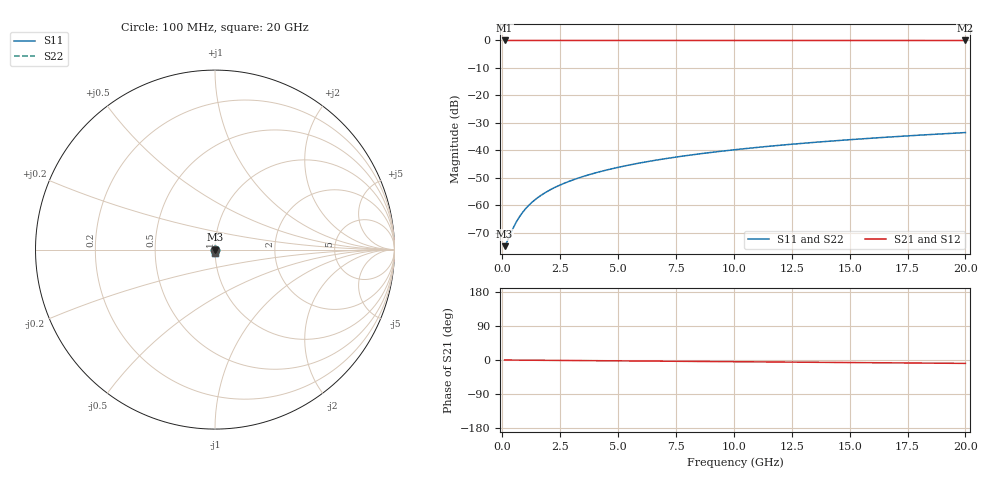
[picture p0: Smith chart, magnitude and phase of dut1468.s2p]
! Touchstone file exported from HFSS 2026.1.0
!  File:  C:/ffzhzh/LocalFiles/Ansys_Project_Files/temp_train_TSV_1468_1783198280_43440.aedt
!  Generated:  04:52:49 AM Jul  5, 2026
!  Design:  TSV
!  Project:  temp_train_TSV_1468_1783198280_43440
! Variables:
!  h_bsmrdl = 2um
!  h_ox = 20um
!  h_rdl = 5um
!  h_sub = 93.8um
!  h_tmrdl = 5um
!  h_tsv = 93.8um
!  h_via = 3um
!  l_bsmrdl = 300um
!  l_sub = 418.18um
!  l_tmrdl = 200um
!  m_sub = 200um
!  pitch = 32.33um
!  r_tsv = 9.09um
!  s_tmrdl = 10um
!  w_bsmrdl = 18um
!  w_sub = 500um
!  w_tmrdl = 12um
!  x_tsv_center1 = 206um
!  x_tsv_center2 = 524um
!  x_tsv_center3 = 736um
!  x_tsv_center4 = 1054um
!  x_tsv_center5 = 1266um
!  x_tsv_center6 = 1584um
# GHz S MA R 50.000000
! Terminal data exported
! Port[1] = TSV1_1_T1
! Port[2] = TSV1_1_T2
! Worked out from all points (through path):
!   200 points, 100 MHz to 20 GHz, reference 50 ohm
!   highest |S21| = 0.00 dB at 100 MHz (marker M1); lowest = 0.0 dB at 20 GHz (marker M2)
!   group delay of S21, straight-line fit = 1.24 ps
!   lowest |S11| = -74.9 dB at 100 MHz (marker M3), VSWR 1.00, Z = 50 - j0.00501 ohm
!   |S11| at or under -10 dB: start of sweep to end of sweep
!   |S22| runs from -74.9 to -33.5 dB; largest |S21 - S12| = 2.1e-15
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0.1  0.0001805 -16.1  0.9998 -0.0  0.9998 -0.0  0.0001805 -16.1
! Gamma 0 0 0 0
! Port Impedance 50 0 50 0
0.2  0.0002156 -28.8  0.9998 -0.1  0.9998 -0.1  0.0002156 -28.8
0.5  0.0004095 -48.8  0.9997 -0.2  0.9997 -0.2  0.0004095 -48.8
0.7  0.0005799 -55.6  0.9997 -0.3  0.9997 -0.3  0.0005799 -55.7
0.8  0.0006713 -58.3  0.9996 -0.4  0.9996 -0.4  0.0006713 -58.3
1  0.0008607 -62.5  0.9996 -0.5  0.9996 -0.5  0.0008607 -62.5
1.3  0.001153 -67.2  0.9995 -0.6  0.9995 -0.6  0.001153 -67.2
1.5  0.00135 -69.5  0.9995 -0.7  0.9995 -0.7  0.00135 -69.5
1.7  0.001548 -71.4  0.9995 -0.8  0.9995 -0.8  0.001548 -71.4
2.2  0.002045 -74.8  0.9994 -1.0  0.9994 -1.0  0.002045 -74.8
2.8  0.002646 -77.5  0.9994 -1.3  0.9994 -1.3  0.002646 -77.5
3.5  0.003355 -79.6  0.9993 -1.6  0.9993 -1.6  0.003355 -79.6
4.2  0.004073 -81.1  0.9992 -1.9  0.9992 -1.9  0.004073 -81.1
5  0.004904 -82.4  0.9992 -2.3  0.9992 -2.3  0.004904 -82.4
5.9  0.005849 -83.7  0.9991 -2.7  0.9991 -2.7  0.005849 -83.7
6.8  0.006803 -84.7  0.999 -3.1  0.999 -3.1  0.006803 -84.7
8.3  0.008404 -86.3  0.9989 -3.7  0.9989 -3.7  0.008404 -86.3
10.1  0.01034 -87.9  0.9987 -4.5  0.9987 -4.5  0.01034 -87.9
11.7  0.01206 -89.1  0.9986 -5.2  0.9986 -5.2  0.01206 -89.1
13.4  0.0139 -90.3  0.9985 -6.0  0.9985 -6.0  0.0139 -90.3
16.7  0.01747 -92.4  0.9983 -7.5  0.9983 -7.5  0.01747 -92.4
20  0.02107 -94.3  0.9981 -8.9  0.9981 -8.9  0.02107 -94.3
